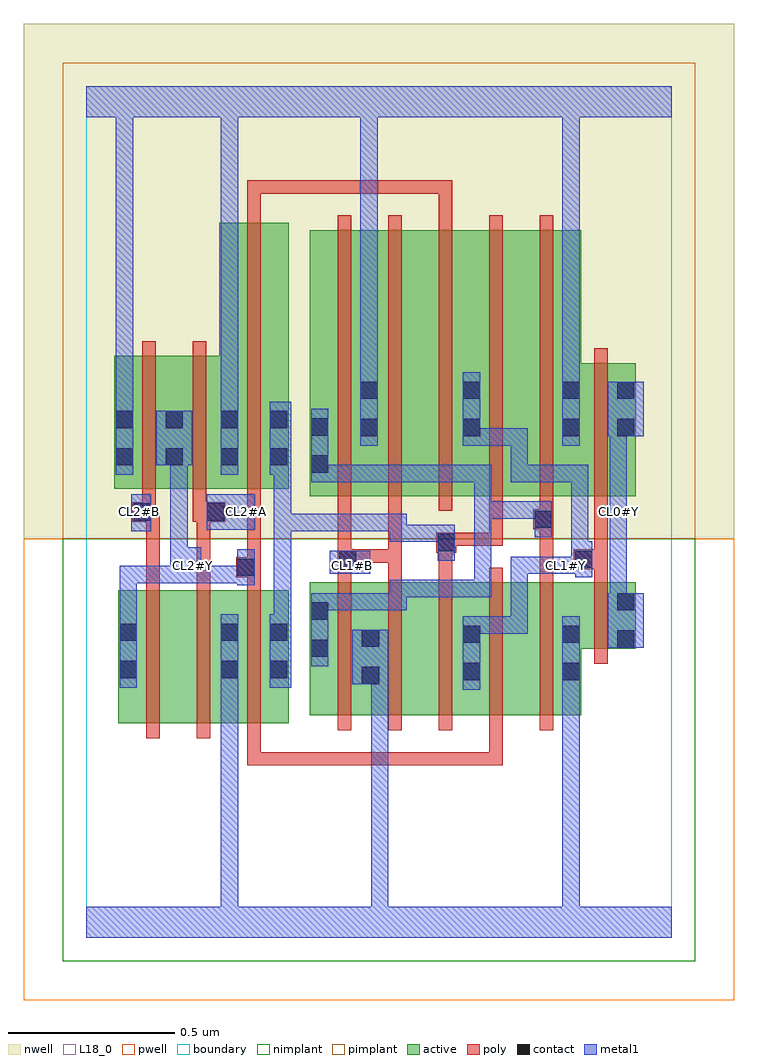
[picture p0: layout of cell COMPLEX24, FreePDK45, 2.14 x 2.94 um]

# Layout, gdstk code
import gdstk
lib = gdstk.Library(unit=1e-6, precision=1e-09)
def R(c, l, rs):  # rectangles x0, y0, x1, y1
    for r in rs: c.add(gdstk.rectangle(r[:2], r[2:], *l))
def A(c, l, x, y, w, h, nx, ny, dx, dy):  # array of equal rectangles
    R(c, l, [(x+i*dx, y+j*dy, x+i*dx+w, y+j*dy+h) for i in range(nx) for j in range(ny)])
active = (1, 0)
pwell = (2, 0)
nwell = (3, 0)
nimplant = (4, 0)
pimplant = (5, 0)
poly = (9, 0)
contact = (10, 0)
metal1 = (11, 0)
L18_0 = (18, 0)
boundary = (235, 0)

complex24 = lib.new_cell('COMPLEX24')
R(complex24, active, [(0.096,0.644,0.276,1.044), (0.276,0.644,0.46,1.044), (0.4,0.644,0.608,1.044), (0.672,0.668,0.884,1.068), (0.824,0.668,1.004,1.068), (1.004,0.668,1.188,1.068), (1.128,0.668,1.308,1.068), (1.308,0.668,1.488,1.068), (1.428,0.668,1.488,0.942), (0.096,0.756,0.156,1.044), (0.4,0.756,0.46,1.044), (0.548,0.756,0.608,1.044), (0.672,0.756,0.732,1.068), (0.824,0.756,0.884,0.93), (1.128,0.756,1.188,0.942), (1.428,0.868,1.652,1.068), (1.592,0.868,1.652,1.068), (0.672,1.328,0.732,2.044), (0.672,1.328,0.88,2.128), (0.82,1.328,0.88,2.044), (0.82,1.328,1.004,2.128), (1.004,1.328,1.188,2.128), (1.128,1.328,1.308,2.128), (1.128,1.328,1.188,2.044), (1.308,1.328,1.488,2.128), (1.428,1.328,1.488,1.676), (1.428,1.328,1.652,1.728), (1.592,1.328,1.652,1.676), (0.084,1.35,0.294,1.75), (0.084,1.35,0.144,1.75), (0.234,1.35,0.46,1.75), (0.234,1.35,0.294,1.644), (0.4,1.35,0.608,2.15), (0.548,1.35,0.608,2.044), (0.4,1.416,0.46,1.664)])
R(complex24, pwell, [(-0.188,-0.188,1.948,1.2)])
R(complex24, nwell, [(-0.188,1.2,1.948,2.748)])
R(complex24, nimplant, [(-0.072,-0.072,1.832,1.2)])
R(complex24, pimplant, [(-0.072,1.2,1.832,2.632)])
A(complex24, poly, 0.18, 0.6, 0.04, 0.488, 3, 1, 0.152, 0)
A(complex24, poly, 0.756, 0.624, 0.04, 0.488, 5, 1, 0.152, 0)
A(complex24, poly, 0.756, 1.284, 0.04, 0.888, 5, 1, 0.152, 0)
R(complex24, poly, [(0.484,0.518,0.524,0.558), (0.484,0.518,0.524,0.558), (0.484,0.518,0.524,0.558), (0.484,0.518,0.69,0.558), (0.484,0.518,0.524,0.64), (0.65,0.518,0.69,0.558), (0.65,0.518,0.796,0.558), (0.756,0.518,0.796,0.558), (0.756,0.518,0.796,0.558), (0.756,0.518,0.796,0.558), (0.756,0.518,0.986,0.558), (0.946,0.518,0.986,0.558), (0.946,0.518,0.986,0.558), (0.946,0.518,0.986,0.558), (0.946,0.518,1.092,0.558), (1.052,0.518,1.092,0.558), (1.052,0.518,1.252,0.558), (1.212,0.518,1.252,0.558), (1.212,0.518,1.252,0.558), (1.212,0.518,1.252,0.558), (1.212,0.518,1.252,0.664), (1.528,0.824,1.568,1.112), (0.18,1.048,0.22,1.29), (0.332,1.048,0.372,1.29), (0.484,1.048,0.524,1.124), (0.756,1.072,0.796,1.148), (0.908,1.072,0.948,1.168), (1.06,1.072,1.1,1.198), (1.364,1.072,1.404,1.268), (1.528,1.072,1.568,1.148), (0.45,1.084,0.524,1.144), (0.484,1.104,0.524,1.144), (0.484,1.104,0.524,1.144), (0.484,1.104,0.524,1.346), (0.756,1.108,0.816,1.168), (1.466,1.108,1.568,1.168), (0.756,1.128,0.796,1.324), (0.756,1.128,0.796,1.168), (0.756,1.128,0.796,1.168), (0.756,1.128,0.796,1.168), (0.756,1.128,0.796,1.168), (0.756,1.128,0.948,1.168), (0.908,1.128,0.948,1.324), (0.908,1.128,0.948,1.168), (0.908,1.128,0.948,1.168), (0.908,1.128,0.948,1.168), (1.528,1.128,1.568,1.324), (1.528,1.128,1.568,1.168), (1.528,1.128,1.568,1.168), (1.052,1.158,1.112,1.218), (1.06,1.158,1.1,1.198), (1.06,1.158,1.1,1.198), (1.072,1.178,1.146,1.218), (1.106,1.178,1.146,1.218), (1.106,1.178,1.252,1.218), (1.212,1.178,1.252,1.218), (1.212,1.178,1.252,1.324), (1.344,1.228,1.404,1.288), (1.364,1.228,1.404,1.268), (1.364,1.228,1.404,1.268), (1.364,1.248,1.404,1.324), (0.138,1.25,0.208,1.31), (0.168,1.25,0.208,1.29), (0.168,1.25,0.22,1.29), (0.32,1.25,0.418,1.31), (0.332,1.25,0.372,1.29), (0.332,1.25,0.372,1.29), (0.168,1.27,0.208,1.346), (0.32,1.27,0.36,1.346), (1.528,1.284,1.568,1.772), (0.168,1.306,0.208,1.794), (0.32,1.306,0.36,1.794), (0.484,1.306,0.524,2.194), (1.06,2.132,1.1,2.278), (0.484,2.154,0.524,2.278), (0.484,2.238,0.524,2.278), (0.484,2.238,0.524,2.278), (0.484,2.238,0.524,2.278), (0.484,2.238,0.69,2.278), (0.65,2.238,0.69,2.278), (0.65,2.238,0.796,2.278), (0.756,2.238,0.796,2.278), (0.756,2.238,0.796,2.278), (0.756,2.238,0.796,2.278), (0.756,2.238,0.902,2.278), (0.862,2.238,0.902,2.278), (0.862,2.238,1.04,2.278), (1,2.238,1.04,2.278), (1,2.238,1.1,2.278), (1.06,2.238,1.1,2.278)])
R(complex24, contact, [(0.828,0.762,0.88,0.814), (1.132,0.774,1.184,0.826), (1.432,0.774,1.484,0.826), (0.1,0.78,0.152,0.832), (0.404,0.78,0.456,0.832), (0.552,0.78,0.604,0.832), (0.676,0.844,0.728,0.896), (1.596,0.872,1.648,0.924), (0.828,0.874,0.88,0.926), (1.132,0.886,1.184,0.938), (1.432,0.886,1.484,0.938), (0.1,0.892,0.152,0.944), (0.404,0.892,0.456,0.944), (0.552,0.892,0.604,0.944), (0.676,0.956,0.728,1.008), (1.596,0.984,1.648,1.036), (0.454,1.088,0.506,1.14), (0.76,1.112,0.812,1.164), (1.47,1.112,1.522,1.164), (1.056,1.162,1.108,1.214), (1.348,1.232,1.4,1.284), (0.142,1.254,0.194,1.306), (0.362,1.254,0.414,1.306), (0.676,1.398,0.728,1.45), (0.088,1.42,0.14,1.472), (0.238,1.42,0.29,1.472), (0.404,1.42,0.456,1.472), (0.552,1.42,0.604,1.472), (0.824,1.508,0.876,1.56), (1.132,1.508,1.184,1.56), (1.432,1.508,1.484,1.56), (1.596,1.508,1.648,1.56), (0.676,1.51,0.728,1.562), (0.088,1.532,0.14,1.584), (0.238,1.532,0.29,1.584), (0.404,1.532,0.456,1.584), (0.552,1.532,0.604,1.584), (0.824,1.62,0.876,1.672), (1.132,1.62,1.184,1.672), (1.432,1.62,1.484,1.672), (1.596,1.62,1.648,1.672)])
A(complex24, metal1, 1.166, 1.26, 0.052, 0.052, 1, 3, 0, 0.11)
R(complex24, metal1, [(0,0,1.76,0.092), (0.404,0.04,0.456,0.092), (0.404,0.04,0.456,0.092), (0.404,0.04,0.456,0.092), (0.404,0.04,0.456,0.092), (0.404,0.04,0.456,0.092), (0.404,0.04,0.456,0.092), (0.404,0.04,0.456,0.092), (0.404,0.04,0.456,0.092), (0.404,0.04,0.456,0.092), (0.404,0.04,0.456,0.092), (0.404,0.04,0.456,0.092), (0.404,0.04,0.456,0.092), (0.404,0.04,0.456,0.804), (0.856,0.04,0.908,0.814), (1.432,0.04,1.484,0.798), (1.132,0.746,1.184,0.966), (1.432,0.746,1.484,0.798), (1.432,0.746,1.484,0.798), (1.432,0.746,1.484,0.798), (1.432,0.746,1.484,0.798), (1.432,0.746,1.484,0.798), (1.432,0.746,1.484,0.798), (1.432,0.746,1.484,0.798), (1.432,0.746,1.484,0.798), (1.432,0.746,1.484,0.798), (1.432,0.746,1.484,0.798), (1.432,0.746,1.484,0.798), (1.432,0.746,1.484,0.798), (1.432,0.746,1.484,0.966), (0.1,0.752,0.152,0.972), (0.404,0.752,0.456,0.972), (0.552,0.752,0.616,0.972), (0.8,0.762,0.908,0.926), (0.856,0.762,0.908,0.814), (0.856,0.762,0.908,0.814), (0.856,0.762,0.908,0.814), (0.856,0.762,0.908,0.814), (0.856,0.762,0.908,0.814), (0.856,0.762,0.908,0.814), (0.856,0.762,0.908,0.814), (0.856,0.762,0.908,0.814), (0.856,0.762,0.908,0.814), (0.856,0.762,0.908,0.814), (0.856,0.762,0.908,0.814), (0.856,0.762,0.908,0.814), (0.676,0.816,0.728,1.036), (1.568,0.872,1.676,1.036), (1.132,0.914,1.218,0.966), (1.166,0.914,1.218,0.966), (1.166,0.914,1.328,0.966), (1.276,0.914,1.328,0.966), (1.276,0.914,1.328,1.146), (0.1,0.92,0.152,1.118), (0.564,0.92,0.616,1.274), (0.676,0.984,0.728,1.036), (0.676,0.984,0.728,1.036), (0.676,0.984,0.964,1.036), (0.912,0.984,0.964,1.036), (0.912,0.984,0.964,1.076), (1.574,0.984,1.626,1.278), (0.912,1.024,0.964,1.076), (0.912,1.024,0.964,1.076), (0.912,1.024,0.964,1.076), (0.912,1.024,1.074,1.076), (1.022,1.024,1.074,1.076), (1.022,1.024,1.074,1.076), (1.022,1.024,1.074,1.076), (1.022,1.024,1.218,1.076), (1.166,1.024,1.218,1.076), (1.166,1.024,1.218,1.312), (0.454,1.06,0.506,1.168), (0.1,1.066,0.152,1.118), (0.1,1.066,0.152,1.118), (0.1,1.066,0.152,1.118), (0.1,1.066,0.304,1.118), (0.252,1.066,0.346,1.174), (0.294,1.066,0.346,1.118), (0.294,1.066,0.346,1.118), (0.294,1.066,0.494,1.118), (0.442,1.066,0.494,1.118), (0.442,1.066,0.506,1.118), (1.47,1.084,1.522,1.192), (0.732,1.094,0.854,1.164), (1.276,1.094,1.328,1.146), (1.276,1.094,1.328,1.146), (1.276,1.094,1.328,1.146), (1.276,1.094,1.438,1.146), (1.386,1.094,1.51,1.146), (1.458,1.094,1.522,1.146), (1.458,1.094,1.51,1.422), (0.252,1.122,0.304,1.174), (0.252,1.122,0.304,1.174), (0.252,1.122,0.304,1.472), (1.056,1.134,1.108,1.242), (0.912,1.19,0.964,1.242), (0.912,1.19,0.964,1.242), (0.912,1.19,1.074,1.242), (0.912,1.19,0.964,1.274), (1.022,1.19,1.074,1.242), (1.022,1.19,1.108,1.242), (1.348,1.204,1.4,1.312), (0.134,1.222,0.194,1.334), (0.564,1.222,0.616,1.274), (0.564,1.222,0.616,1.274), (0.564,1.222,0.616,1.274), (0.564,1.222,0.616,1.274), (0.564,1.222,0.616,1.274), (0.564,1.222,0.726,1.274), (0.564,1.222,0.616,1.444), (0.674,1.222,0.726,1.274), (0.674,1.222,0.964,1.274), (0.362,1.226,0.506,1.334), (1.574,1.226,1.626,1.334), (1.166,1.26,1.218,1.312), (1.166,1.26,1.218,1.312), (1.166,1.26,1.328,1.312), (1.166,1.26,1.218,1.422), (1.276,1.26,1.328,1.312), (1.276,1.26,1.4,1.312), (1.574,1.282,1.626,1.56), (0.676,1.37,0.728,1.422), (0.676,1.37,0.728,1.422), (0.676,1.37,0.728,1.59), (0.676,1.37,0.964,1.422), (0.912,1.37,0.964,1.422), (0.912,1.37,0.964,1.422), (0.912,1.37,0.964,1.422), (0.912,1.37,1.074,1.422), (1.022,1.37,1.074,1.422), (1.022,1.37,1.074,1.422), (1.022,1.37,1.074,1.422), (1.022,1.37,1.218,1.422), (1.276,1.37,1.328,1.422), (1.276,1.37,1.328,1.422), (1.276,1.37,1.328,1.422), (1.276,1.37,1.51,1.422), (1.276,1.37,1.328,1.532), (1.458,1.37,1.51,1.422), (1.458,1.37,1.51,1.422), (1.458,1.37,1.51,1.422), (0.088,1.392,0.14,1.612), (0.404,1.392,0.456,1.612), (0.552,1.392,0.616,1.612), (0.21,1.42,0.318,1.584), (0.824,1.48,0.876,1.7), (1.132,1.48,1.184,1.7), (1.132,1.48,1.218,1.532), (1.166,1.48,1.328,1.532), (1.276,1.48,1.328,1.532), (1.432,1.48,1.484,1.7), (1.568,1.508,1.676,1.672), (1.574,1.508,1.626,1.56), (1.574,1.508,1.626,1.56), (0.088,1.56,0.14,1.612), (0.088,1.56,0.14,1.612), (0.088,1.56,0.14,1.612), (0.088,1.56,0.14,1.612), (0.088,1.56,0.14,1.612), (0.088,1.56,0.14,1.612), (0.088,1.56,0.14,1.612), (0.088,1.56,0.14,1.612), (0.088,1.56,0.14,1.612), (0.088,1.56,0.14,1.612), (0.088,1.56,0.14,1.612), (0.088,1.56,0.14,1.612), (0.088,1.56,0.14,1.612), (0.088,1.56,0.14,1.612), (0.088,1.56,0.14,2.52), (0.404,1.56,0.456,1.612), (0.404,1.56,0.456,1.612), (0.404,1.56,0.456,2.52), (0.824,1.648,0.876,2.52), (1.432,1.648,1.484,1.7), (1.432,1.648,1.484,1.7), (1.432,1.648,1.484,1.7), (1.432,1.648,1.484,1.7), (1.432,1.648,1.484,1.7), (1.432,1.648,1.484,1.7), (1.432,1.648,1.484,1.7), (1.432,1.648,1.484,1.7), (1.432,1.648,1.484,2.52), (0,2.468,1.76,2.56), (0.088,2.468,0.14,2.52), (0.088,2.468,0.14,2.52), (0.404,2.468,0.456,2.52), (0.404,2.468,0.456,2.52), (0.404,2.468,0.456,2.52), (0.404,2.468,0.456,2.52), (0.404,2.468,0.456,2.52), (0.404,2.468,0.456,2.52), (0.824,2.468,0.876,2.52), (0.824,2.468,0.876,2.52), (0.824,2.468,0.876,2.52), (0.824,2.468,0.876,2.52), (0.824,2.468,0.876,2.52), (0.824,2.468,0.876,2.52), (0.824,2.468,0.876,2.52), (0.824,2.468,0.876,2.52)])
R(complex24, L18_0, [(0,0,1.76,0.092), (0.404,0.04,0.456,0.092), (0.404,0.04,0.456,0.092), (0.404,0.04,0.456,0.092), (0.404,0.04,0.456,0.092), (0.404,0.04,0.456,0.092), (0.404,0.04,0.456,0.092), (0.404,0.04,0.456,0.092), (0.404,0.04,0.456,0.092), (0.404,0.04,0.456,0.092), (0.404,0.04,0.456,0.092), (0.404,0.04,0.456,0.092), (0.404,0.04,0.456,0.092), (0.404,0.04,0.456,0.804), (0.856,0.04,0.908,0.814), (1.432,0.04,1.484,0.798), (1.132,0.746,1.184,0.966), (1.432,0.746,1.484,0.966), (1.432,0.746,1.484,0.798), (1.432,0.746,1.484,0.798), (1.432,0.746,1.484,0.798), (1.432,0.746,1.484,0.798), (1.432,0.746,1.484,0.798), (1.432,0.746,1.484,0.798), (1.432,0.746,1.484,0.798), (1.432,0.746,1.484,0.798), (1.432,0.746,1.484,0.798), (1.432,0.746,1.484,0.798), (1.432,0.746,1.484,0.798), (1.432,0.746,1.484,0.798), (0.1,0.752,0.152,0.972), (0.404,0.752,0.456,0.972), (0.8,0.762,0.908,0.926), (0.856,0.762,0.908,0.814), (0.856,0.762,0.908,0.814), (0.856,0.762,0.908,0.814), (0.856,0.762,0.908,0.814), (0.856,0.762,0.908,0.814), (0.856,0.762,0.908,0.814), (0.856,0.762,0.908,0.814), (0.856,0.762,0.908,0.814), (0.856,0.762,0.908,0.814), (0.856,0.762,0.908,0.814), (0.856,0.762,0.908,0.814), (0.856,0.762,0.908,0.814), (1.568,0.872,1.676,1.036), (1.132,0.914,1.218,0.966), (1.166,0.914,1.218,0.966), (1.166,0.914,1.328,0.966), (1.276,0.914,1.328,0.966), (1.276,0.914,1.328,1.146), (0.1,0.92,0.152,1.118), (1.574,0.984,1.626,1.278), (0.454,1.06,0.506,1.168), (0.1,1.066,0.152,1.118), (0.1,1.066,0.152,1.118), (0.1,1.066,0.152,1.118), (0.1,1.066,0.304,1.118), (0.252,1.066,0.346,1.174), (0.294,1.066,0.346,1.118), (0.294,1.066,0.346,1.118), (0.294,1.066,0.494,1.118), (0.442,1.066,0.494,1.118), (0.442,1.066,0.506,1.118), (1.47,1.084,1.522,1.192), (0.294,1.094,0.346,1.146), (0.732,1.094,0.854,1.164), (0.774,1.094,0.826,1.146), (1.276,1.094,1.328,1.146), (1.276,1.094,1.328,1.146), (1.276,1.094,1.328,1.146), (1.276,1.094,1.438,1.146), (1.386,1.094,1.51,1.146), (1.414,1.094,1.466,1.146), (1.458,1.094,1.522,1.146), (1.458,1.094,1.51,1.422), (0.252,1.122,0.304,1.174), (0.252,1.122,0.304,1.174), (0.252,1.122,0.304,1.472), (0.134,1.222,0.194,1.334), (0.362,1.226,0.506,1.334), (1.574,1.226,1.626,1.334), (0.134,1.254,0.186,1.306), (0.454,1.254,0.506,1.306), (1.574,1.254,1.626,1.306), (1.574,1.282,1.626,1.56), (1.276,1.37,1.328,1.422), (1.276,1.37,1.328,1.422), (1.276,1.37,1.328,1.422), (1.276,1.37,1.328,1.532), (1.276,1.37,1.51,1.422), (1.458,1.37,1.51,1.422), (1.458,1.37,1.51,1.422), (1.458,1.37,1.51,1.422), (0.088,1.392,0.14,1.612), (0.404,1.392,0.456,1.612), (0.21,1.42,0.318,1.584), (0.824,1.48,0.876,1.7), (1.132,1.48,1.184,1.7), (1.132,1.48,1.218,1.532), (1.166,1.48,1.218,1.532), (1.166,1.48,1.328,1.532), (1.276,1.48,1.328,1.532), (1.432,1.48,1.484,1.7), (1.568,1.508,1.676,1.672), (1.574,1.508,1.626,1.56), (1.574,1.508,1.626,1.56), (0.088,1.56,0.14,1.612), (0.088,1.56,0.14,1.612), (0.088,1.56,0.14,1.612), (0.088,1.56,0.14,1.612), (0.088,1.56,0.14,1.612), (0.088,1.56,0.14,1.612), (0.088,1.56,0.14,1.612), (0.088,1.56,0.14,1.612), (0.088,1.56,0.14,1.612), (0.088,1.56,0.14,1.612), (0.088,1.56,0.14,1.612), (0.088,1.56,0.14,1.612), (0.088,1.56,0.14,1.612), (0.088,1.56,0.14,1.612), (0.088,1.56,0.14,2.52), (0.404,1.56,0.456,1.612), (0.404,1.56,0.456,1.612), (0.404,1.56,0.456,2.52), (0.824,1.648,0.876,2.52), (1.432,1.648,1.484,1.7), (1.432,1.648,1.484,1.7), (1.432,1.648,1.484,1.7), (1.432,1.648,1.484,1.7), (1.432,1.648,1.484,1.7), (1.432,1.648,1.484,1.7), (1.432,1.648,1.484,1.7), (1.432,1.648,1.484,1.7), (1.432,1.648,1.484,2.52), (0,2.468,1.76,2.56), (0.088,2.468,0.14,2.52), (0.088,2.468,0.14,2.52), (0.404,2.468,0.456,2.52), (0.404,2.468,0.456,2.52), (0.404,2.468,0.456,2.52), (0.404,2.468,0.456,2.52), (0.404,2.468,0.456,2.52), (0.404,2.468,0.456,2.52), (0.824,2.468,0.876,2.52), (0.824,2.468,0.876,2.52), (0.824,2.468,0.876,2.52), (0.824,2.468,0.876,2.52), (0.824,2.468,0.876,2.52), (0.824,2.468,0.876,2.52), (0.824,2.468,0.876,2.52), (0.824,2.468,0.876,2.52)])
R(complex24, boundary, [(0,0,1.76,2.56)])
complex24.add(gdstk.Label('CL0#Y', (1.6,1.28), layer=11, texttype=0))
complex24.add(gdstk.Label('CL1#B', (0.8,1.12), layer=11, texttype=0))
complex24.add(gdstk.Label('CL1#Y', (1.44,1.12), layer=11, texttype=0))
complex24.add(gdstk.Label('CL2#A', (0.48,1.28), layer=11, texttype=0))
complex24.add(gdstk.Label('CL2#B', (0.16,1.28), layer=11, texttype=0))
complex24.add(gdstk.Label('CL2#Y', (0.32,1.12), layer=11, texttype=0))

lib.write_gds('COMPLEX24.gds')
